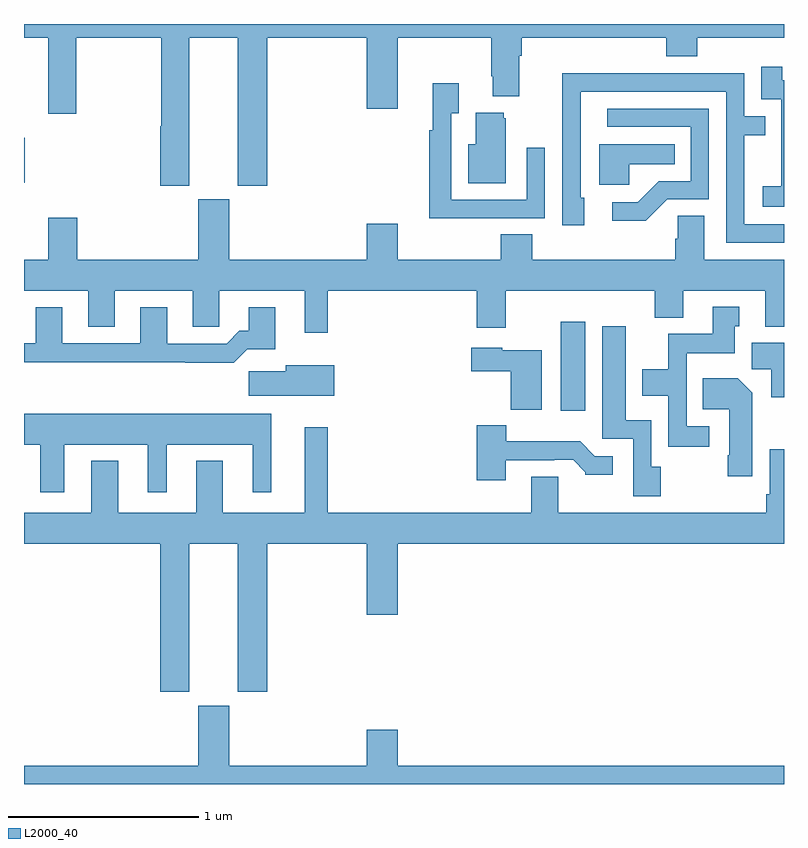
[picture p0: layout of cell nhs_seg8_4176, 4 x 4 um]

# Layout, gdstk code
import gdstk
lib = gdstk.Library(unit=1e-6, precision=1e-09)
def R(c, l, rs):  # rectangles x0, y0, x1, y1
    for r in rs: c.add(gdstk.rectangle(r[:2], r[2:], *l))
def P(c, l, *ps):  # polygons
    for p in ps: c.add(gdstk.Polygon(p, *l))
L2000_40 = (2000, 40)

nhs_seg8_4176 = lib.new_cell('nhs_seg8_4176')
R(nhs_seg8_4176, L2000_40, [(369.824,1119.864,369.955,1120.333), (367,1121.064,367.004,1121.301)])
P(nhs_seg8_4176, L2000_40, [(367,1121.828),(367.127,1121.828),(367.127,1121.427),(367.275,1121.427),(367.275,1121.828),(367.723,1121.828),(367.723,1121.361),(367.718,1121.361),(367.718,1121.049),(367.87,1121.049),(367.87,1121.828),(368.126,1121.828),(368.126,1121.049),(368.279,1121.049),(368.279,1121.828),(368.804,1121.828),(368.804,1121.454),(368.968,1121.454),(368.968,1121.828),(369.46,1121.828),(369.46,1121.626),(369.467,1121.626),(369.467,1121.519),(369.607,1121.519),(369.607,1121.732),(369.62,1121.732),(369.62,1121.828),(370.379,1121.828),(370.379,1121.729),(370.544,1121.729),(370.544,1121.828),(371,1121.828),(371,1121.9),(367,1121.9)],
  [(371,1121.604),(370.99,1121.604),(370.99,1121.674),(370.881,1121.674),(370.881,1121.505),(370.986,1121.505),(370.986,1121.276),(370.985,1121.276),(370.985,1121.047),(370.887,1121.047),(370.887,1120.937),(371,1120.937)],
  [(371,1120.845),(370.791,1120.845),(370.791,1121.314),(370.901,1121.314),(370.901,1121.415),(370.791,1121.415),(370.791,1121.64),(370.295,1121.64),(370.295,1121.642),(369.832,1121.642),(369.832,1121.335),(369.834,1121.335),(369.834,1120.842),(369.949,1120.842),(369.949,1120.986),(369.93,1120.986),(369.93,1121.296),(369.931,1121.296),(369.931,1121.544),(370.695,1121.544),(370.695,1120.749),(371,1120.749)],
  [(369.425,1120.878),(369.741,1120.878),(369.741,1121.248),(369.645,1121.248),(369.645,1120.974),(369.249,1120.974),(369.249,1121.431),(369.289,1121.431),(369.289,1121.587),(369.152,1121.587),(369.152,1121.342),(369.133,1121.342),(369.133,1120.877),(369.425,1120.877)],
  [(370.386,1120.977),(370.605,1120.977),(370.605,1121.454),(370.071,1121.454),(370.071,1121.358),(370.509,1121.358),(370.509,1121.073),(370.34,1121.073),(370.229,1120.962),(370.095,1120.962),(370.095,1120.865),(370.273,1120.865)],
  [(369.535,1121.403),(369.524,1121.403),(369.524,1121.434),(369.377,1121.434),(369.377,1121.266),(369.338,1121.266),(369.338,1121.063),(369.535,1121.063)],
  [(370.185,1121.162),(370.424,1121.162),(370.424,1121.266),(370.028,1121.266),(370.028,1121.054),(370.185,1121.054)],
  [(370.44,1120.769),(370.427,1120.769),(370.427,1120.66),(369.674,1120.66),(369.674,1120.793),(369.509,1120.793),(369.509,1120.66),(368.968,1120.66),(368.968,1120.849),(368.804,1120.849),(368.804,1120.66),(368.08,1120.66),(368.08,1120.977),(367.916,1120.977),(367.916,1120.66),(367.28,1120.66),(367.28,1120.879),(367.127,1120.879),(367.127,1120.66),(367,1120.66),(367,1120.496),(367.337,1120.496),(367.337,1120.306),(367.477,1120.306),(367.477,1120.496),(367.889,1120.496),(367.889,1120.306),(368.028,1120.306),(368.028,1120.496),(368.477,1120.496),(368.477,1120.275),(368.599,1120.275),(368.599,1120.496),(369.383,1120.496),(369.383,1120.302),(369.535,1120.302),(369.535,1120.496),(370.319,1120.496),(370.319,1120.355),(370.471,1120.355),(370.471,1120.496),(370.901,1120.496),(370.901,1120.307),(371,1120.307),(371,1120.66),(370.579,1120.66),(370.579,1120.892),(370.44,1120.892)],
  [(370.606,1119.783),(370.488,1119.783),(370.488,1120.166),(370.741,1120.166),(370.741,1120.308),(370.765,1120.308),(370.765,1120.411),(370.625,1120.411),(370.625,1120.27),(370.39,1120.27),(370.39,1120.084),(370.253,1120.084),(370.253,1119.944),(370.392,1119.944),(370.392,1119.675),(370.606,1119.675)],
  [(368.174,1120.187),(368.323,1120.187),(368.323,1120.408),(368.183,1120.408),(368.183,1120.285),(368.134,1120.285),(368.067,1120.218),(367.753,1120.218),(367.753,1120.408),(367.613,1120.408),(367.613,1120.221),(367.201,1120.221),(367.201,1120.408),(367.061,1120.408),(367.061,1120.221),(367,1120.221),(367,1120.12),(367.849,1120.12),(367.849,1120.118),(368.105,1120.118)],
  [(370.35,1119.57),(370.302,1119.57),(370.302,1119.814),(370.168,1119.814),(370.168,1120.309),(370.043,1120.309),(370.043,1119.717),(370.206,1119.717),(370.206,1119.414),(370.35,1119.414)],
  [(371,1120.222),(370.829,1120.222),(370.829,1120.084),(370.934,1120.084),(370.934,1119.936),(371,1119.936)],
  [(369.724,1120.183),(369.516,1120.183),(369.516,1120.195),(369.354,1120.195),(369.354,1120.073),(369.562,1120.073),(369.562,1119.869),(369.724,1119.869)],
  [(368.632,1120.105),(368.378,1120.105),(368.378,1120.073),(368.184,1120.073),(368.184,1119.944),(368.632,1119.944)],
  [(370.834,1119.958),(370.756,1120.036),(370.573,1120.036),(370.573,1119.872),(370.712,1119.872),(370.712,1119.631),(370.705,1119.631),(370.705,1119.519),(370.834,1119.519)],
  [(367.213,1119.686),(367.652,1119.686),(367.652,1119.435),(367.75,1119.435),(367.75,1119.686),(368.204,1119.686),(368.204,1119.435),(368.302,1119.435),(368.302,1119.85),(367,1119.85),(367,1119.686),(367.085,1119.686),(367.085,1119.435),(367.213,1119.435)],
  [(369.535,1119.603),(369.791,1119.603),(369.791,1119.606),(369.89,1119.606),(369.954,1119.542),(369.954,1119.527),(370.099,1119.527),(370.099,1119.624),(370.005,1119.624),(369.927,1119.703),(369.538,1119.703),(369.538,1119.787),(369.383,1119.787),(369.383,1119.498),(369.535,1119.498)],
  [(367.87,1119.164),(368.126,1119.164),(368.126,1118.385),(368.279,1118.385),(368.279,1119.164),(368.804,1119.164),(368.804,1118.79),(368.968,1118.79),(368.968,1119.164),(371,1119.164),(371,1119.661),(370.926,1119.661),(370.926,1119.424),(370.906,1119.424),(370.906,1119.328),(369.811,1119.328),(369.811,1119.518),(369.671,1119.518),(369.671,1119.328),(368.599,1119.328),(368.599,1119.778),(368.477,1119.778),(368.477,1119.328),(368.047,1119.328),(368.047,1119.601),(367.907,1119.601),(367.907,1119.328),(367.495,1119.328),(367.495,1119.601),(367.355,1119.601),(367.355,1119.328),(367,1119.328),(367,1119.164),(367.718,1119.164),(367.718,1118.385),(367.87,1118.385)],
  [(371,1117.996),(368.968,1117.996),(368.968,1118.185),(368.804,1118.185),(368.804,1117.996),(368.08,1117.996),(368.08,1118.313),(367.916,1118.313),(367.916,1117.996),(367,1117.996),(367,1117.9),(371,1117.9)])

lib.write_gds('nhs_seg8_4176.gds')
